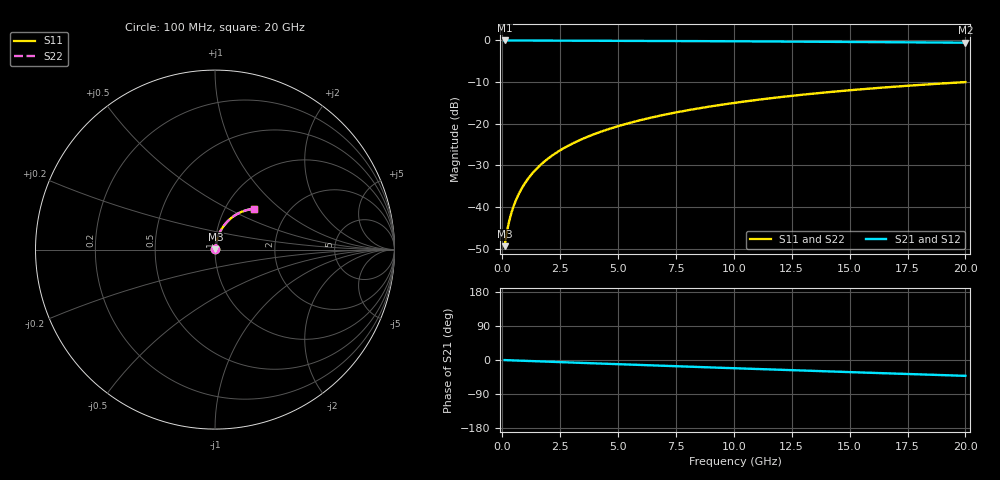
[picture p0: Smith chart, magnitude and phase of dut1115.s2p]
! Touchstone file exported from HFSS 2026.1.0
!  File:  C:/ffzhzh/LocalFiles/Ansys_Project_Files/temp_train_BSMRDL_1115_1783175027_22436.aedt
!  Generated:  10:24:59 PM Jul  4, 2026
!  Design:  BSMRDL
!  Project:  temp_train_BSMRDL_1115_1783175027_22436
! Variables:
!  h_bsmrdl = 4.4um
!  h_ox = 20um
!  h_rdl = 5um
!  h_sub = 80um
!  h_tmrdl = 5um
!  h_tsv = 80um
!  h_via = 3um
!  l_bsmrdl = 656.08um
!  l_sub = 1056.08um
!  l_tmrdl = 200um
!  m_sub = 200um
!  pitch = 41.36um
!  r_tsv = 6um
!  s_tmrdl = 10um
!  w_bsmrdl = 22.05um
!  w_sub = 500um
!  w_tmrdl = 12um
!  x_tsv_center1 = 206um
!  x_tsv_center2 = 884.13um
!  x_tsv_center3 = 1096.13um
!  x_tsv_center4 = 1774.26um
!  x_tsv_center5 = 1986.26um
!  x_tsv_center6 = 2664.39um
# GHz S MA R 50.000000
! Terminal data exported
! Port[1] = BSM_RDL1_1_T1
! Port[2] = BSM_RDL1_1_T2
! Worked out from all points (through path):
!   200 points, 100 MHz to 20 GHz, reference 50 ohm
!   highest |S21| = -0.02 dB at 100 MHz (marker M1); lowest = -0.6 dB at 20 GHz (marker M2)
!   group delay of S21, straight-line fit = 5.8 ps
!   lowest |S11| = -49.4 dB at 100 MHz (marker M3), VSWR 1.01, Z = 50.3 + j0.218 ohm
!   |S11| at or under -10 dB: start of sweep to end of sweep
!   |S22| runs from -49.4 to -10.0 dB; largest |S21 - S12| = 2.6e-15
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0.1  0.00338 39.8  0.9974 -0.2  0.9974 -0.2  0.00338 39.8
! Gamma 0 0 0 0
! Port Impedance 50 0 50 0
0.2  0.005046 56.2  0.9972 -0.5  0.9972 -0.5  0.005046 56.2
0.3  0.006815 63.8  0.9971 -0.7  0.9971 -0.7  0.006815 63.8
0.4  0.008605 68.4  0.9969 -0.9  0.9969 -0.9  0.008605 68.4
0.5  0.01042 71.4  0.9968 -1.1  0.9968 -1.1  0.01042 71.4
0.6  0.01225 73.5  0.9967 -1.4  0.9967 -1.4  0.01225 73.5
0.8  0.01595 76.3  0.9966 -1.8  0.9966 -1.8  0.01595 76.3
1.1  0.02157 78.4  0.9964 -2.5  0.9964 -2.5  0.02157 78.4
1.3  0.02534 79.1  0.9962 -2.9  0.9962 -2.9  0.02534 79.1
1.6  0.03099 79.6  0.9959 -3.6  0.9959 -3.6  0.03099 79.6
2.1  0.04038 79.7  0.9952 -4.7  0.9952 -4.7  0.04038 79.7
2.7  0.05157 79.1  0.9943 -6.0  0.9943 -6.0  0.05157 79.1
3.5  0.06629 77.9  0.9929 -7.8  0.9929 -7.8  0.06629 77.9
4.2  0.07897 76.7  0.9914 -9.3  0.9914 -9.3  0.07897 76.7
5  0.09324 75.2  0.9896 -11.1  0.9896 -11.1  0.09324 75.2
5.9  0.109 73.5  0.9873 -13.0  0.9873 -13.0  0.109 73.5
6.8  0.1245 71.7  0.9849 -14.9  0.9849 -14.9  0.1245 71.7
8.3  0.1496 68.7  0.9805 -18.1  0.9805 -18.1  0.1496 68.7
10.1  0.1788 65.2  0.9748 -21.9  0.9748 -21.9  0.1788 65.2
13.4  0.229 58.7  0.9632 -28.7  0.9632 -28.7  0.229 58.7
16.7  0.2747 52.4  0.9504 -35.4  0.9504 -35.4  0.2747 52.4
20  0.3154 46.1  0.9372 -41.8  0.9372 -41.8  0.3154 46.1
